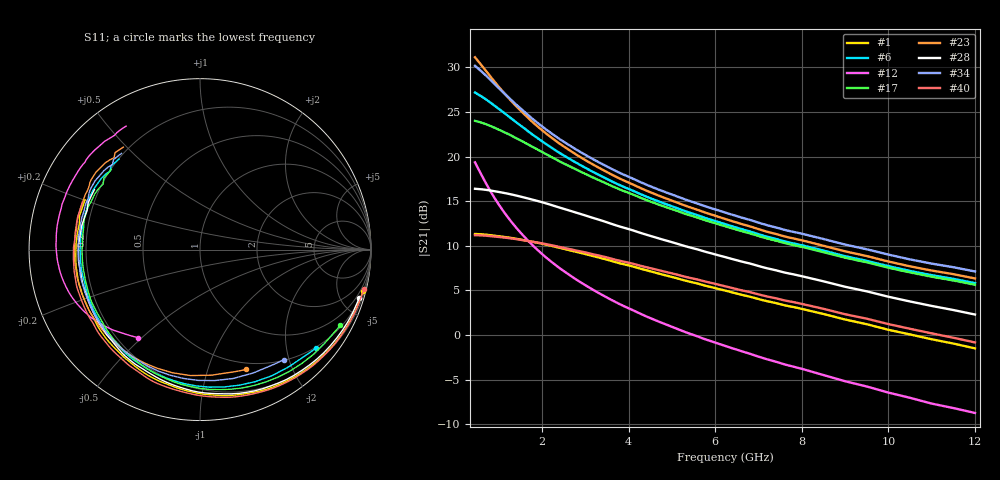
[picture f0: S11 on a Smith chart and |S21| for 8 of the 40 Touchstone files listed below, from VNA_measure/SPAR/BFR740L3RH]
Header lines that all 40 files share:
! Infineon Technologies  Discrete & RF Semiconductors
! BFR740L3RH
! Common Emitter S-Parameters:  May 2012
# GHz  S  MA  R  50
!  f  S11  S21  S12  S22
! GHz  MAG  ANG  MAG  ANG  MAG  ANG  MAG  ANG
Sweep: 450 MHz to 12 GHz
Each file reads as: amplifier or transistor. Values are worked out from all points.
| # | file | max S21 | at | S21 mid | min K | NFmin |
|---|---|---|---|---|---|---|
| 1 | BFR740L3RH_w_noise_VCE_1.0V_IC_1.0mA.s2p | 11.3 dB | 450 MHz | 7.0 dB at 4.6 GHz | 0.06 | 0.29 dB |
| 2 | BFR740L3RH_w_noise_VCE_1.0V_IC_2.0mA.s2p | 16.5 dB | 450 MHz | 10.5 dB at 4.6 GHz | -0.04 | 0.30 dB |
| 3 | BFR740L3RH_w_noise_VCE_1.0V_IC_4.0mA.s2p | 21.5 dB | 450 MHz | 13.1 dB at 4.6 GHz | -0.03 | 0.35 dB |
| 4 | BFR740L3RH_w_noise_VCE_1.0V_IC_6.0mA.s2p | 24.1 dB | 450 MHz | 14.2 dB at 4.6 GHz | 0.06 | 0.43 dB |
| 5 | BFR740L3RH_w_noise_VCE_1.0V_IC_8.0mA.s2p | 25.9 dB | 450 MHz | 14.8 dB at 4.6 GHz | -0.02 | 0.51 dB |
| 6 | BFR740L3RH_w_noise_VCE_1.0V_IC_10mA.s2p | 27.2 dB | 450 MHz | 15.1 dB at 4.6 GHz | 0.02 | 0.59 dB |
| 7 | BFR740L3RH_w_noise_VCE_1.0V_IC_15mA.s2p | 29.2 dB | 450 MHz | 15.5 dB at 4.6 GHz | 0.04 | 0.72 dB |
| 8 | BFR740L3RH_w_noise_VCE_1.0V_IC_20mA.s2p | 30.1 dB | 450 MHz | 15.2 dB at 4.6 GHz | 0.02 | 0.90 dB |
| 9 | BFR740L3RH_w_noise_VCE_1.0V_IC_25mA.s2p | 29.7 dB | 450 MHz | 13.7 dB at 4.6 GHz | 0.05 | 1.03 dB |
| 10 | BFR740L3RH_w_noise_VCE_1.0V_IC_30mA.s2p | 25.1 dB | 450 MHz | 8.1 dB at 4.6 GHz | 0.44 | 1.19 dB |
| 11 | BFR740L3RH_w_noise_VCE_1.0V_IC_35mA.s2p | 20.6 dB | 450 MHz | 3.5 dB at 4.6 GHz | 0.91 | 1.30 dB |
| 12 | BFR740L3RH_w_noise_VCE_1.0V_IC_40mA.s2p | 19.3 dB | 450 MHz | 1.7 dB at 4.6 GHz | 1.09 | 1.40 dB |
| 13 | BFR740L3RH_w_noise_VCE_1.0V_IC_45mA.s2p | 18.8 dB | 450 MHz | 0.6 dB at 4.6 GHz | 1.17 | 1.51 dB |
| 14 | BFR740L3RH_w_noise_VCE_2.0V_IC_1.0mA.s2p | 11.3 dB | 450 MHz | 7.3 dB at 4.6 GHz | -0.08 | 0.29 dB |
| 15 | BFR740L3RH_w_noise_VCE_2.0V_IC_2.0mA.s2p | 16.4 dB | 450 MHz | 10.9 dB at 4.6 GHz | -0.12 | 0.30 dB |
| 16 | BFR740L3RH_w_noise_VCE_2.0V_IC_4.0mA.s2p | 21.4 dB | 450 MHz | 13.7 dB at 4.6 GHz | 0.05 | 0.35 dB |
| 17 | BFR740L3RH_w_noise_VCE_2.0V_IC_6.0mA.s2p | 24.0 dB | 450 MHz | 14.8 dB at 4.6 GHz | -0.07 | 0.43 dB |
| 18 | BFR740L3RH_w_noise_VCE_2.0V_IC_8.0mA.s2p | 25.8 dB | 450 MHz | 15.4 dB at 4.6 GHz | 0.06 | 0.51 dB |
| 19 | BFR740L3RH_w_noise_VCE_2.0V_IC_10mA.s2p | 27.1 dB | 450 MHz | 15.8 dB at 4.6 GHz | 0.07 | 0.59 dB |
| 20 | BFR740L3RH_w_noise_VCE_2.0V_IC_15mA.s2p | 29.1 dB | 450 MHz | 16.3 dB at 4.6 GHz | 0.01 | 0.72 dB |
| 21 | BFR740L3RH_w_noise_VCE_2.0V_IC_20mA.s2p | 30.3 dB | 450 MHz | 16.4 dB at 4.6 GHz | -0.03 | 0.90 dB |
| 22 | BFR740L3RH_w_noise_VCE_2.0V_IC_25mA.s2p | 30.9 dB | 450 MHz | 16.3 dB at 4.6 GHz | -0.01 | 1.03 dB |
| 23 | BFR740L3RH_w_noise_VCE_2.0V_IC_30mA.s2p | 31.1 dB | 450 MHz | 15.8 dB at 4.6 GHz | 0.08 | 1.19 dB |
| 24 | BFR740L3RH_w_noise_VCE_2.0V_IC_35mA.s2p | 30.1 dB | 450 MHz | 14.0 dB at 4.6 GHz | 0.11 | 1.30 dB |
| 25 | BFR740L3RH_w_noise_VCE_2.0V_IC_40mA.s2p | 26.8 dB | 450 MHz | 10.2 dB at 4.6 GHz | 0.40 | 1.40 dB |
| 26 | BFR740L3RH_w_noise_VCE_2.0V_IC_45mA.s2p | 24.3 dB | 450 MHz | 7.6 dB at 4.6 GHz | 0.63 | 1.51 dB |
| 27 | BFR740L3RH_w_noise_VCE_2.5V_IC_1.0mA.s2p | 11.2 dB | 450 MHz | 7.4 dB at 4.6 GHz | 0.05 | 0.29 dB |
| 28 | BFR740L3RH_w_noise_VCE_2.5V_IC_2.0mA.s2p | 16.4 dB | 450 MHz | 11.0 dB at 4.6 GHz | -0.05 | 0.30 dB |
| 29 | BFR740L3RH_w_noise_VCE_2.5V_IC_4.0mA.s2p | 21.4 dB | 450 MHz | 13.7 dB at 4.6 GHz | -0.06 | 0.35 dB |
| 30 | BFR740L3RH_w_noise_VCE_2.5V_IC_6.0mA.s2p | 24.0 dB | 450 MHz | 14.8 dB at 4.6 GHz | 0.04 | 0.43 dB |
| 31 | BFR740L3RH_w_noise_VCE_2.5V_IC_8.0mA.s2p | 25.7 dB | 450 MHz | 15.5 dB at 4.6 GHz | 0.06 | 0.51 dB |
| 32 | BFR740L3RH_w_noise_VCE_2.5V_IC_10mA.s2p | 27.0 dB | 450 MHz | 15.9 dB at 4.6 GHz | -0.05 | 0.59 dB |
| 33 | BFR740L3RH_w_noise_VCE_2.5V_IC_15mA.s2p | 29.0 dB | 450 MHz | 16.3 dB at 4.6 GHz | 0.09 | 0.72 dB |
| 34 | BFR740L3RH_w_noise_VCE_2.5V_IC_20mA.s2p | 30.2 dB | 450 MHz | 16.5 dB at 4.6 GHz | 0.06 | 0.90 dB |
| 35 | BFR740L3RH_w_noise_VCE_2.5V_IC_25mA.s2p | 30.8 dB | 450 MHz | 16.4 dB at 4.6 GHz | 0.12 | 1.03 dB |
| 36 | BFR740L3RH_w_noise_VCE_2.5V_IC_30mA.s2p | 31.2 dB | 450 MHz | 16.1 dB at 4.6 GHz | 0.12 | 1.19 dB |
| 37 | BFR740L3RH_w_noise_VCE_2.5V_IC_35mA.s2p | 30.9 dB | 450 MHz | 15.3 dB at 4.6 GHz | 0.15 | 1.30 dB |
| 38 | BFR740L3RH_w_noise_VCE_2.5V_IC_40mA.s2p | 29.1 dB | 450 MHz | 12.8 dB at 4.6 GHz | 0.23 | 1.40 dB |
| 39 | BFR740L3RH_w_noise_VCE_2.5V_IC_45mA.s2p | 26.4 dB | 450 MHz | 9.8 dB at 4.6 GHz | 0.42 | 1.51 dB |
| 40 | BFR740L3RH_w_noise_VCE_3.0V_IC_1.0mA.s2p | 11.2 dB | 450 MHz | 7.4 dB at 4.6 GHz | 0.00 | 0.29 dB |

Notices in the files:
internship_Nexedi/test_ampli_simple/VNA_measure/SPAR/BFR740L3RH/BFR740L3RH_w_noise_VCE_1.0V_IC_1.0mA.s2p:
(c) 2012  Infineon Technologies AG, Munich
